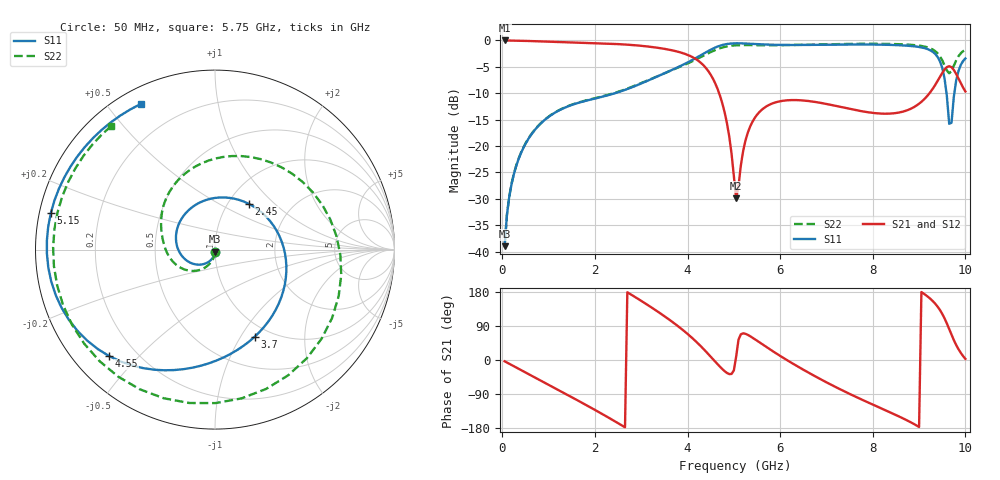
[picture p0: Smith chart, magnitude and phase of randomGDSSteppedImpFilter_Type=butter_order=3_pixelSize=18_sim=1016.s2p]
! freq	dB(S11)	phase(S11)	dB(S12)	phase(S12)
!  dB(S21)	phase(S21)	dB(S22)	phase(S22)
!S-par simulation data
#  GHz  S  DB  R 50
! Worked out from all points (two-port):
!   200 points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, 50 MHz to 10 GHz, reference 50 ohm
!   highest |S21| = -0.02 dB at 50 MHz (marker M1); lowest = -29.9 dB at 5.05 GHz (marker M2)
!   |S21| within 3 dB of the highest: start of sweep to 4.07 GHz
!   lowest |S11| = -39.0 dB at 50 MHz (marker M3), VSWR 1.02, Z = 50.1 - j1.12 ohm
!   |S11| at or under -10 dB: start of sweep to 2.44 GHz; 9.591 GHz to 9.762 GHz (170.3 MHz wide, 1.76 % of centre)
!   |S22| runs from -38.9 to -0.7 dB; largest |S21 - S12| = 0
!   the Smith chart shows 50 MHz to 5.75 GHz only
!   S11 on the Smith chart (normalised r, x): 50 MHz: 1.00, -0.02; 2.45 GHz: 1.24, +0.71; 3.7 GHz: 0.85, -1.15; 4.55 GHz: 0.10, -0.41; 5.15 GHz: 0.03, +0.11; 5.75 GHz: 0.06, +0.61
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0.05  -38.99 -85.5  -0.02 -3.3  -0.02 -3.3  -38.93 -84.2
0.2  -27.22 -103.6  -0.04 -13.2  -0.04 -13.2  -27.15 -98.7
0.5  -19.61 -129.0  -0.10 -32.9  -0.10 -32.9  -19.55 -116.4
1.15  -13.63 177.8  -0.29 -75.2  -0.29 -75.2  -13.59 -149.3
1.75  -11.57 124.2  -0.46 -114.8  -0.46 -114.8  -11.52 -175.1
2.45  -9.97 53.4  -0.69 -163.1  -0.69 -163.1  -9.89 159.1
3.4  -6.64 -40.3  -1.47 124.1  -1.47 124.1  -6.62 107.0
3.7  -5.46 -65.5  -1.96 98.0  -1.96 98.0  -5.53 79.9
4.1  -3.73 -96.7  -3.15 58.1  -3.15 58.1  -3.98 30.1
4.55  -1.55 -134.8  -7.29 2.1  -7.29 2.1  -2.02 -49.8
4.8  -0.78 -159.2  -13.59 -29.4  -13.59 -29.4  -1.24 -99.6
5.05  -0.56 176.7  -29.93 8.9  -29.93 8.9  -0.94 -144.3
5.15  -0.56 167.6  -23.79 67.8  -23.79 67.8  -0.90 -159.9
5.75  -0.81 117.1  -12.28 30.4  -12.28 30.4  -0.92 129.9
6.7  -0.86 41.6  -11.60 -39.3  -11.60 -39.3  -0.80 60.1
7.45  -0.79 -14.4  -12.89 -86.5  -12.89 -86.5  -0.68 19.2
8.35  -0.85 -75.3  -13.89 -136.8  -13.89 -136.8  -0.68 -21.5
8.9  -1.14 -113.5  -12.59 -169.6  -12.59 -169.6  -0.90 -44.7
9.3  -2.20 -150.6  -9.10 154.9  -9.10 154.9  -1.77 -64.0
9.5  -5.22 -179.6  -6.19 121.8  -6.19 121.8  -3.78 -73.5
9.65  -15.80 -175.6  -4.90 81.7  -4.90 81.7  -6.23 -60.6
10  -3.44 -143.7  -9.69 3.0  -9.69 3.0  -1.78 -55.9
